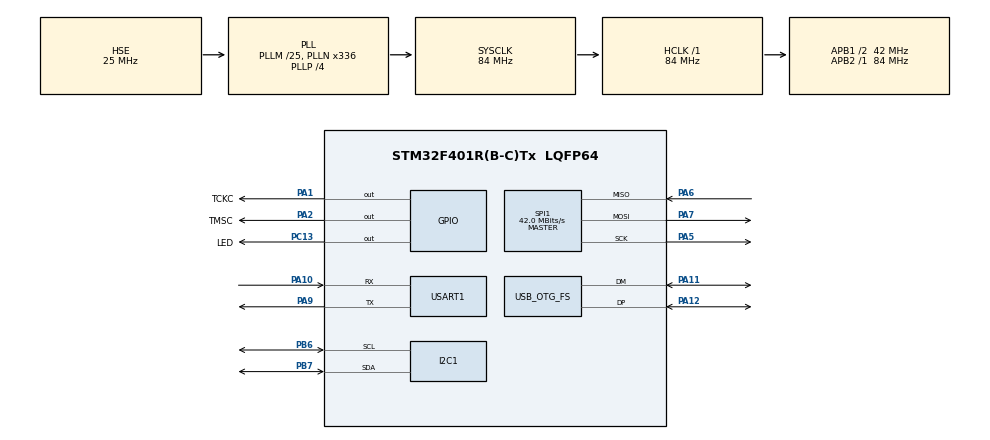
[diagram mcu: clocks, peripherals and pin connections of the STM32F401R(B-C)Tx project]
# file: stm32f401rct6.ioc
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FREERTOS.Tasks01=defaultTask,24,128,StartDefaultTask,Default,NULL,Dynamic,NULL,NULL
Mcu.Family=STM32F4
Mcu.Name=STM32F401R(B-C)Tx
Mcu.Package=LQFP64
NVIC.I2C1_ER_IRQn=true\:5\:0\:false\:false\:true\:true\:true\:true\:true
NVIC.I2C1_EV_IRQn=true\:5\:0\:false\:false\:true\:true\:true\:true\:true
NVIC.OTG_FS_IRQn=true\:5\:0\:false\:false\:true\:true\:true\:true\:true
NVIC.PriorityGroup=NVIC_PRIORITYGROUP_4
NVIC.TIM1_UP_TIM10_IRQn=true\:15\:0\:false\:false\:true\:false\:false\:true\:true
NVIC.TimeBase=TIM1_UP_TIM10_IRQn
NVIC.TimeBaseIP=TIM1
PA1.GPIO_Label=TCKC
PA1.GPIO_Speed=GPIO_SPEED_FREQ_VERY_HIGH
PA1.PinState=GPIO_PIN_SET
PA1.Signal=GPIO_Output
PA10.Mode=Asynchronous
PA10.Signal=USART1_RX
PA11.Mode=Device_Only
PA11.Signal=USB_OTG_FS_DM
PA12.Mode=Device_Only
PA12.Signal=USB_OTG_FS_DP
PA13.Mode=Serial_Wire
PA13.Signal=SYS_JTMS-SWDIO
PA14.Mode=Serial_Wire
PA14.Signal=SYS_JTCK-SWCLK
PA2.GPIO_Label=TMSC
PA2.GPIO_Speed=GPIO_SPEED_FREQ_VERY_HIGH
PA2.PinState=GPIO_PIN_SET
PA2.Signal=GPIO_Output
PA5.Mode=Full_Duplex_Master
PA5.Signal=SPI1_SCK
PA6.Mode=Full_Duplex_Master
PA6.Signal=SPI1_MISO
PA7.Mode=Full_Duplex_Master
PA7.Signal=SPI1_MOSI
PA9.Mode=Asynchronous
PA9.Signal=USART1_TX
PB6.GPIO_Pu=GPIO_PULLUP
PB6.Mode=I2C
PB6.Signal=I2C1_SCL
PB7.GPIO_Pu=GPIO_PULLUP
PB7.Mode=I2C
PB7.Signal=I2C1_SDA
PC13-ANTI_TAMP.GPIO_Label=LED
PC13-ANTI_TAMP.Signal=GPIO_Output
PH0\ -\ OSC_IN.Mode=HSE-External-Oscillator
PH0\ -\ OSC_IN.Signal=RCC_OSC_IN
PH1\ -\ OSC_OUT.Mode=HSE-External-Oscillator
PH1\ -\ OSC_OUT.Signal=RCC_OSC_OUT
ProjectManager.HeapSize=0x200
ProjectManager.StackSize=0x400
ProjectManager.TargetToolchain=CMake
RCC.48MHZClocksFreq_Value=48000000
RCC.AHBFreq_Value=84000000
RCC.APB1CLKDivider=RCC_HCLK_DIV2
RCC.APB1Freq_Value=42000000
RCC.APB1TimFreq_Value=84000000
RCC.APB2Freq_Value=84000000
RCC.APB2TimFreq_Value=84000000
RCC.CortexFreq_Value=84000000
RCC.HCLKFreq_Value=84000000
RCC.HSE_VALUE=25000000
RCC.HSI_VALUE=16000000
RCC.LSE_VALUE=32768
RCC.PLLM=25
RCC.PLLN=336
RCC.PLLP=RCC_PLLP_DIV4
RCC.PLLQ=7
RCC.SYSCLKFreq_VALUE=84000000
RCC.SYSCLKSource=RCC_SYSCLKSOURCE_PLLCLK
RCC.VCOOutputFreq_Value=336000000
SPI1.CalculateBaudRate=42.0 MBits/s
SPI1.Direction=SPI_DIRECTION_2LINES
SPI1.Mode=SPI_MODE_MASTER
SPI1.VirtualType=VM_MASTER
USART1.VirtualMode=VM_ASYNC
USB_OTG_FS.VirtualMode=Device_Only
VP_FREERTOS_VS_CMSIS_V2.Mode=CMSIS_V2
VP_SYS_VS_tim1.Mode=TIM1
board=custom

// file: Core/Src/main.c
/* USER CODE BEGIN Header */
/**
 ******************************************************************************
 * @file           : main.c
 * @brief          : Main program body
 ******************************************************************************
 * @attention
 *
 * Copyright (c) 2025 STMicroelectronics.
 * All rights reserved.
 *
 * This software is licensed under terms that can be found in the LICENSE file
 * in the root directory of this software component.
 * If no LICENSE file comes with this software, it is provided AS-IS.
 *
 ******************************************************************************
 */
/* USER CODE END Header */
#include "main.h"
#include "cmsis_os.h"

/* USER CODE BEGIN Includes */
// ***用户***头文件
#include <stdio.h>
#include <stdbool.h>
#include "log.h"
#include "chry_ringbuffer.h"
#include "winusb.h"
#include "dap_main.h"
/* USER CODE END Includes */

/* USER CODE BEGIN PTD */
// ***用户***私有类型定义
typedef struct
{
  uint8_t len;
  uint8_t opcode;
  uint16_t bits;
  uint8_t data[];
} command;
/* USER CODE END PTD */

/* USER CODE BEGIN PD */
// ***用户***私有定义
/* USER CODE END PD */

/* USER CODE BEGIN PM */
// ***用户***私有宏定义
#define ROUND_UP(bits, n) ((bits + (n - 1)) / n)
#define ROUND_UP_8(bits) ROUND_UP(bits, 8)
/* USER CODE END PM */

I2C_HandleTypeDef hi2c1;

SPI_HandleTypeDef hspi1;

UART_HandleTypeDef huart1;

PCD_HandleTypeDef hpcd_USB_OTG_FS;

/* Definitions for defaultTask */
osThreadId_t defaultTaskHandle;
const osThreadAttr_t defaultTask_attributes = {
  .name = "defaultTask",
  .stack_size = 128 * 4,
  .priority = (osPriority_t) osPriorityNormal,
};
/* USER CODE BEGIN PV */
// ***用户***私有变量
chry_ringbuffer_t rb;
uint8_t mempool[1024];

uint8_t buff[64] = {0};
command *curr_cmd = (command *)buff;
/* USER CODE END PV */

void SystemClock_Config(void);
static void MX_GPIO_Init(void);
static void MX_USB_OTG_FS_PCD_Init(void);
static void MX_USART1_UART_Init(void);
static void MX_I2C1_Init(void);
static void MX_SPI1_Init(void);
void StartDefaultTask(void *argument);

/* USER CODE BEGIN PFP */
// ***用户***私有函数签名
// extern void cJTAG_sequence(uint8_t *ucTMS, uint8_t *ucTDI, uint8_t *ucTDO,
//                            uint32_t bits);
extern void cJtag_active(void);
extern void cJTAG_seq(uint32_t bits, uint8_t *ucTDI, uint8_t *ucTDO);
extern void cJTAG_tms(uint32_t bits, uint8_t* ucTMS);
extern int test(void);
/* USER CODE END PFP */

/* USER CODE BEGIN 0 */
// ***用户***私有代码0
// commom functions
char *to_binary_string(unsigned int value, uint32_t bits)
{
    static char binary_string[64] = {0};
    uint32_t i = 0;
    // 从最高位到最低位逐位检查并填充字符串
    for (i = 0; i < bits; i++)
    {
        binary_string[i] = ((value >> i) & 1) ? '1' : '0';
    }
    // 添加字符串结束符
    binary_string[i] = '\0';

    return binary_string;
}
int __io_getchar(FILE *file) {
  (void)file;
  return 0;
}

int __io_putchar(char ch, FILE *file) {
  // (void)ch;
  (void)file;
  HAL_UART_Transmit(&huart1, (uint8_t *)&ch, 1, HAL_MAX_DELAY);
  return 1;
}

void LED_TogglePin(void)
{
  HAL_GPIO_TogglePin(LED_GPIO_Port, LED_Pin);
}

void cJtag_task(void) {
  if (chry_ringbuffer_peek_byte(&rb, buff)) {
    // printf("len %d\r\n", buff[0]);
    if (buff[0] <= chry_ringbuffer_get_used(&rb)) {
      chry_ringbuffer_read(&rb, buff, buff[0]);
      LED_TogglePin();
      // recive a cmd
      // log_info("--cmd %d---", count++);
      // log_info("cmd[%02X]bits[%d]", curr_cmd->opcode, curr_cmd->bits);
      switch (curr_cmd->opcode) {
      case 0:    // ir/dr scan
      case 0x80: // ir/dr scan
      {
        uint8_t buffer[0x100] = {0};
        cJTAG_seq(curr_cmd->bits, (uint8_t *)&curr_cmd->data[0], buffer);
        usbd_winusb_write(buffer, ROUND_UP_8(curr_cmd->bits));
      } break;
      case 1: // tms
      {
        cJTAG_tms(curr_cmd->bits, (uint8_t *)&curr_cmd->data[0]);
      } break;
      case 0xFF:
      {
        cJtag_active();
        break;
      }
      default:
        break;
      }
    }
  }
}
typedef struct
{
  uint8_t len;
  uint8_t opcode;
  uint8_t data[];
} common_msg;

typedef struct
{
    uint8_t len;
    uint8_t opcode;
    uint8_t addr : 7;
    uint8_t is_read : 1;
    uint8_t data_len : 7;
    uint8_t is_continue : 1;
    uint8_t data[];
} i2c_cmdx;

chry_ringbuffer_t msg_rb;
static uint8_t mem_pool[1024];
static uint8_t msg_buff[64] = {0};
static common_msg *curr_msg = (common_msg *)msg_buff;
static i2c_cmdx *curr_i2c_cmd = (i2c_cmdx *)msg_buff;
uint8_t i2c_rx_buff[0x100] = {0};

void common_msg_buffer_push(uint8_t *data, uint8_t len)
{
    chry_ringbuffer_write(&msg_rb, data, len);
}

void common_msg_handler(void) {
  if (chry_ringbuffer_peek_byte(&msg_rb, msg_buff)) {
    if (msg_buff[0] <= chry_ringbuffer_get_used(&msg_rb)) {
      chry_ringbuffer_read(&msg_rb, msg_buff, msg_buff[0]);
      LED_TogglePin();
      // recive a cmd
      // log_info("--cmd %d---", count++);
      // log_info("cmd[%02X]bits[%d]", curr_msg->opcode, curr_msg->bits);

      switch (curr_msg->opcode) {
      case 0: // i2c cmd
      {
        if (curr_i2c_cmd->is_read) {
            // read
            HAL_I2C_Master_Receive(&hi2c1, curr_i2c_cmd->addr<<1,
              (uint8_t *)&i2c_rx_buff+1, curr_i2c_cmd->data_len, 0x1000);
            i2c_rx_buff[0] = 0xAA;
            log_hex("read data", i2c_rx_buff+1, curr_i2c_cmd->data_len);
            usbd_winusb_write(i2c_rx_buff, curr_i2c_cmd->data_len+1);
            // printf("read len %d\r\n", curr_i2c_cmd->data_len);
        }
        else {
            // write
            HAL_I2C_Master_Transmit(&hi2c1, curr_i2c_cmd->addr<<1,
              (uint8_t *)&curr_i2c_cmd->data[0], curr_i2c_cmd->data_len, 0x1000);
            i2c_rx_buff[0] = 0xBB;
            usbd_winusb_write(i2c_rx_buff, 1);
            // printf("write len %d\r\n", curr_i2c_cmd->data_len);
        }
        break;
      }
      default:
        break;
      }
    }
  }
}
/* USER CODE END 0 */

int main(void)
{

  /* USER CODE BEGIN 1 */
  // ***用户***私有代码1
  /* USER CODE END 1 */

  /* MCU Configuration--------------------------------------------------------*/

  /* Reset of all peripherals, Initializes the Flash interface and the Systick. */
  HAL_Init();

  /* USER CODE BEGIN Init */
  // ***用户***初始化
  // chry_ringbuffer_init(&rb, mempool, 1024);
  chry_ringbuffer_init(&msg_rb, mem_pool, sizeof(mem_pool));
  /* USER CODE END Init */

  /* Configure the system clock */
  SystemClock_Config();

  /* USER CODE BEGIN SysInit */
  // ***用户***系统初始化
  HAL_EnableCompensationCell();
  /* USER CODE END SysInit */

  /* Initialize all configured peripherals */
  MX_GPIO_Init();
  MX_USB_OTG_FS_PCD_Init();
  MX_USART1_UART_Init();
  MX_I2C1_Init();
  MX_SPI1_Init();
  /* USER CODE BEGIN 2 */
  // ***用户***私有代码2
  // log_set_level(LOG_DEBUG);
  // winusb_init(0, (uintptr_t)USB_OTG_FS);
  // chry_dap_init(0, (uintptr_t)USB_OTG_FS);
  extern void winusb_init(uint8_t busid, uintptr_t reg_base);
  winusb_init(0, (uintptr_t)USB_OTG_FS);
  // cJtag_active();
  // test();
  /* USER CODE END 2 */

  /* Init scheduler */
  osKernelInitialize();

  /* Create the thread(s) */
  /* creation of defaultTask */
  defaultTaskHandle = osThreadNew(StartDefaultTask, NULL, &defaultTask_attributes);

  /* Start scheduler */
  osKernelStart();

  /* We should never get here as control is now taken by the scheduler */

  /* Infinite loop */
  while (1) {

  }
}

void SystemClock_Config(void)
{
  RCC_OscInitTypeDef RCC_OscInitStruct = {0};
  RCC_ClkInitTypeDef RCC_ClkInitStruct = {0};

  /** Configure the main internal regulator output voltage
  */
  __HAL_RCC_PWR_CLK_ENABLE();
  __HAL_PWR_VOLTAGESCALING_CONFIG(PWR_REGULATOR_VOLTAGE_SCALE2);

  /** Initializes the RCC Oscillators according to the specified parameters
  * in the RCC_OscInitTypeDef structure.
  */
  RCC_OscInitStruct.OscillatorType = RCC_OSCILLATORTYPE_HSE;
  RCC_OscInitStruct.HSEState = RCC_HSE_ON;
  RCC_OscInitStruct.PLL.PLLState = RCC_PLL_ON;
  RCC_OscInitStruct.PLL.PLLSource = RCC_PLLSOURCE_HSE;
  RCC_OscInitStruct.PLL.PLLM = 25;
  RCC_OscInitStruct.PLL.PLLN = 336;
  RCC_OscInitStruct.PLL.PLLP = RCC_PLLP_DIV4;
  RCC_OscInitStruct.PLL.PLLQ = 7;
  if (HAL_RCC_OscConfig(&RCC_OscInitStruct) != HAL_OK)
  {
    Error_Handler();
  }

  /** Initializes the CPU, AHB and APB buses clocks
  */
  RCC_ClkInitStruct.ClockType = RCC_CLOCKTYPE_HCLK|RCC_CLOCKTYPE_SYSCLK
                              |RCC_CLOCKTYPE_PCLK1|RCC_CLOCKTYPE_PCLK2;
  RCC_ClkInitStruct.SYSCLKSource = RCC_SYSCLKSOURCE_PLLCLK;
  RCC_ClkInitStruct.AHBCLKDivider = RCC_SYSCLK_DIV1;
  RCC_ClkInitStruct.APB1CLKDivider = RCC_HCLK_DIV2;
  RCC_ClkInitStruct.APB2CLKDivider = RCC_HCLK_DIV1;

  if (HAL_RCC_ClockConfig(&RCC_ClkInitStruct, FLASH_LATENCY_2) != HAL_OK)
  {
    Error_Handler();
  }
}

static void MX_I2C1_Init(void)
{

  hi2c1.Instance = I2C1;
  hi2c1.Init.ClockSpeed = 100000;
  hi2c1.Init.DutyCycle = I2C_DUTYCYCLE_2;
  hi2c1.Init.OwnAddress1 = 0;
  hi2c1.Init.AddressingMode = I2C_ADDRESSINGMODE_7BIT;
  hi2c1.Init.DualAddressMode = I2C_DUALADDRESS_DISABLE;
  hi2c1.Init.OwnAddress2 = 0;
  hi2c1.Init.GeneralCallMode = I2C_GENERALCALL_DISABLE;
  hi2c1.Init.NoStretchMode = I2C_NOSTRETCH_DISABLE;
  if (HAL_I2C_Init(&hi2c1) != HAL_OK)
  {
    Error_Handler();
  }

}

static void MX_SPI1_Init(void)
{

  /* SPI1 parameter configuration*/
  hspi1.Instance = SPI1;
  hspi1.Init.Mode = SPI_MODE_MASTER;
  hspi1.Init.Direction = SPI_DIRECTION_2LINES;
  hspi1.Init.DataSize = SPI_DATASIZE_8BIT;
  hspi1.Init.CLKPolarity = SPI_POLARITY_LOW;
  hspi1.Init.CLKPhase = SPI_PHASE_1EDGE;
  hspi1.Init.NSS = SPI_NSS_SOFT;
  hspi1.Init.BaudRatePrescaler = SPI_BAUDRATEPRESCALER_2;
  hspi1.Init.FirstBit = SPI_FIRSTBIT_MSB;
  hspi1.Init.TIMode = SPI_TIMODE_DISABLE;
  hspi1.Init.CRCCalculation = SPI_CRCCALCULATION_DISABLE;
  hspi1.Init.CRCPolynomial = 10;
  if (HAL_SPI_Init(&hspi1) != HAL_OK)
  {
    Error_Handler();
  }

}

static void MX_USART1_UART_Init(void)
{

  huart1.Instance = USART1;
  huart1.Init.BaudRate = 115200;
  huart1.Init.WordLength = UART_WORDLENGTH_8B;
  huart1.Init.StopBits = UART_STOPBITS_1;
  huart1.Init.Parity = UART_PARITY_NONE;
  huart1.Init.Mode = UART_MODE_TX_RX;
  huart1.Init.HwFlowCtl = UART_HWCONTROL_NONE;
  huart1.Init.OverSampling = UART_OVERSAMPLING_16;
  if (HAL_UART_Init(&huart1) != HAL_OK)
  {
    Error_Handler();
  }

}

static void MX_USB_OTG_FS_PCD_Init(void)
{

  hpcd_USB_OTG_FS.Instance = USB_OTG_FS;
  hpcd_USB_OTG_FS.Init.dev_endpoints = 4;
  hpcd_USB_OTG_FS.Init.speed = PCD_SPEED_FULL;
  hpcd_USB_OTG_FS.Init.dma_enable = DISABLE;
  hpcd_USB_OTG_FS.Init.phy_itface = PCD_PHY_EMBEDDED;
  hpcd_USB_OTG_FS.Init.Sof_enable = DISABLE;
  hpcd_USB_OTG_FS.Init.low_power_enable = DISABLE;
  hpcd_USB_OTG_FS.Init.lpm_enable = DISABLE;
  hpcd_USB_OTG_FS.Init.vbus_sensing_enable = DISABLE;
  hpcd_USB_OTG_FS.Init.use_dedicated_ep1 = DISABLE;
  if (HAL_PCD_Init(&hpcd_USB_OTG_FS) != HAL_OK)
  {
    Error_Handler();
  }

}

static void MX_GPIO_Init(void)
{
  GPIO_InitTypeDef GPIO_InitStruct = {0};

  /* GPIO Ports Clock Enable */
  __HAL_RCC_GPIOC_CLK_ENABLE();
  __HAL_RCC_GPIOH_CLK_ENABLE();
  __HAL_RCC_GPIOA_CLK_ENABLE();
  __HAL_RCC_GPIOB_CLK_ENABLE();

  /*Configure GPIO pin Output Level */
  HAL_GPIO_WritePin(LED_GPIO_Port, LED_Pin, GPIO_PIN_RESET);

  /*Configure GPIO pin Output Level */
  HAL_GPIO_WritePin(GPIOA, TCKC_Pin|TMSC_Pin, GPIO_PIN_SET);

  /*Configure GPIO pin : LED_Pin */
  GPIO_InitStruct.Pin = LED_Pin;
  GPIO_InitStruct.Mode = GPIO_MODE_OUTPUT_PP;
  GPIO_InitStruct.Pull = GPIO_NOPULL;
  GPIO_InitStruct.Speed = GPIO_SPEED_FREQ_LOW;
  HAL_GPIO_Init(LED_GPIO_Port, &GPIO_InitStruct);

  /*Configure GPIO pins : TCKC_Pin TMSC_Pin */
  GPIO_InitStruct.Pin = TCKC_Pin|TMSC_Pin;
  GPIO_InitStruct.Mode = GPIO_MODE_OUTPUT_PP;
  GPIO_InitStruct.Pull = GPIO_NOPULL;
  GPIO_InitStruct.Speed = GPIO_SPEED_FREQ_VERY_HIGH;
  HAL_GPIO_Init(GPIOA, &GPIO_InitStruct);

}

void StartDefaultTask(void *argument)
{
  /* USER CODE BEGIN 5 */
  /* Infinite loop */
  for(;;)
  {
    // common_msg_handler();
    // cJtag_task();
    static uint32_t tick = 0;
    if ((HAL_GetTick() - tick)>2000) {
      LED_TogglePin();
      tick = HAL_GetTick();
    }

    // chry_dap_handle();
    // chry_dap_usb2uart_handle();
    osDelay(1);
  }
  /* USER CODE END 5 */
}

void HAL_TIM_PeriodElapsedCallback(TIM_HandleTypeDef *htim)
{
  if (htim->Instance == TIM1)
  {
    HAL_IncTick();
  }
}

void Error_Handler(void)
{
  __disable_irq();
  while (1) {
  }
}

#ifdef  USE_FULL_ASSERT
/**
  * @brief  Reports the name of the source file and the source line number
  *         where the assert_param error has occurred.
  * @param  file: pointer to the source file name
  * @param  line: assert_param error line source number
  * @retval None
  */
void assert_failed(uint8_t *file, uint32_t line)
{
  /* USER CODE BEGIN 6 */
  /* User can add his own implementation to report the file name and line
     number,
     ex: printf("Wrong parameters value: file %s on line %d\r\n", file, line) */
  /* USER CODE END 6 */
}
#endif /* USE_FULL_ASSERT */
